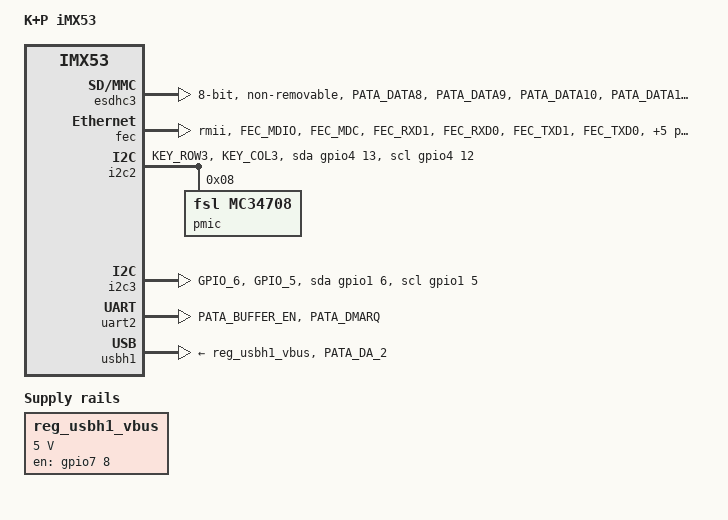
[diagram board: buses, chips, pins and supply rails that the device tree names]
/*
 * Copyright 2018
 * Lukasz Majewski, DENX Software Engineering, lukma@denx.de
 *
 * SPDX-License-Identifier:     GPL-2.0+ or X11
 */

/dts-v1/;
#include <dt-bindings/gpio/gpio.h>
#include "imx53.dtsi"
#include "imx53-pinfunc.h"

/ {
	model = "K+P iMX53";
	compatible = "kp,imx53-kp", "fsl,imx53";

	chosen {
		stdout-path = &uart2;
	};

	aliases {
		mmc0 = &esdhc3;
	};

	regulators {
		compatible = "simple-bus";
		#address-cells = <1>;
		#size-cells = <0>;

		reg_usbh1_vbus: regulator-usbh1-vbus {
			compatible = "regulator-fixed";
			regulator-name = "usbh1_vbus";
			regulator-min-microvolt = <5000000>;
			regulator-max-microvolt = <5000000>;
			gpio = <&gpio7 8 GPIO_ACTIVE_HIGH>;
			enable-active-high;
		};
	};

};

&esdhc3 {
	pinctrl-names = "default";
	pinctrl-0 = <&pinctrl_esdhc3>;
	bus-width = <8>;
	non-removable;
	status = "okay";
};

&fec {
	pinctrl-names = "default";
	pinctrl-0 = <&pinctrl_eth>;
	phy-mode = "rmii";
	phy-reset-gpios = <&gpio7 6 GPIO_ACTIVE_LOW>;
	status = "okay";
};

&i2c2 {
	pinctrl-names = "default", "gpio";
	pinctrl-0 = <&pinctrl_i2c2>;
	pinctrl-1 = <&pinctrl_i2c2_gpio>;
	clock_frequency = <100000>;

	scl-gpios = <&gpio4 12 GPIO_ACTIVE_HIGH>;
	sda-gpios = <&gpio4 13 GPIO_ACTIVE_HIGH>;

	status = "okay";

	pmic: mc34708@8 {
		compatible = "fsl,mc34708";
		reg = <0x8>;
	};
};

&i2c3 {
	pinctrl-names = "default", "gpio";
	pinctrl-0 = <&pinctrl_i2c3>;
	pinctrl-1 = <&pinctrl_i2c3_gpio>;
	clock_frequency = <100000>;

	scl-gpios = <&gpio1 5 GPIO_ACTIVE_HIGH>;
	sda-gpios = <&gpio1 6 GPIO_ACTIVE_HIGH>;

	status = "okay";
};

&iomuxc {
	pinctrl-names = "default";
	pinctrl-0 = <&pinctrl_hog>;

	imx53-kp {
		pinctrl_esdhc3: esdhc3grp {
			fsl,pins = <
				MX53_PAD_PATA_DATA8__ESDHC3_DAT0        0x1d4
				MX53_PAD_PATA_DATA9__ESDHC3_DAT1        0x1d4
				MX53_PAD_PATA_DATA10__ESDHC3_DAT2       0x1d4
				MX53_PAD_PATA_DATA11__ESDHC3_DAT3       0x1d4
				MX53_PAD_PATA_DATA0__ESDHC3_DAT4        0x1d4
				MX53_PAD_PATA_DATA1__ESDHC3_DAT5        0x1d4
				MX53_PAD_PATA_DATA2__ESDHC3_DAT6        0x1d4
				MX53_PAD_PATA_DATA3__ESDHC3_DAT7        0x1d4
				MX53_PAD_PATA_RESET_B__ESDHC3_CMD       0x1e4
				MX53_PAD_PATA_IORDY__ESDHC3_CLK         0x1d4
			>;
		};

		pinctrl_eth: ethgrp {
			fsl,pins = <
				MX53_PAD_FEC_MDIO__FEC_MDIO 0x1fc
				MX53_PAD_FEC_MDC__FEC_MDC 0x4
				MX53_PAD_FEC_RXD1__FEC_RDATA_1 0x180
				MX53_PAD_FEC_RXD0__FEC_RDATA_0 0x180
				MX53_PAD_FEC_TXD1__FEC_TDATA_1 0x4
				MX53_PAD_FEC_TXD0__FEC_TDATA_0 0x4
				MX53_PAD_FEC_TX_EN__FEC_TX_EN 0x4
				MX53_PAD_FEC_REF_CLK__FEC_TX_CLK 0x180
				/* The RX_ER pin needs to be pull down */
				/* for this device */
				MX53_PAD_FEC_RX_ER__FEC_RX_ER 0x1c0
				MX53_PAD_FEC_CRS_DV__FEC_RX_DV 0x180
				>;
		};

		pinctrl_hog: hoggrp {
			fsl,pins = <
				/* PHY RESET */
				MX53_PAD_PATA_DA_0__GPIO7_6 0x182
				/* BOOSTER_OFF */
				MX53_PAD_EIM_CS0__GPIO2_23 0x1e4
				/* LCD BACKLIGHT */
				MX53_PAD_GPIO_1__GPIO1_1 0x1e4
				/* KEY1 GPIO */
				MX53_PAD_EIM_RW__GPIO2_26 0x1e4
			>;
		};

		pinctrl_i2c2: i2c2grp {
			fsl,pins = <
				MX53_PAD_KEY_ROW3__I2C2_SDA
						 (0x1ee | IMX_PAD_SION)
				MX53_PAD_KEY_COL3__I2C2_SCL
						 (0x1ee | IMX_PAD_SION)
			>;
		};

		pinctrl_i2c2_gpio: i2c2grpgpio {
			fsl,pins = <
				MX53_PAD_KEY_ROW3__GPIO4_13 0x1e4
				MX53_PAD_KEY_COL3__GPIO4_12 0x1e4
			>;
		};

		pinctrl_i2c3: i2c3grp {
			fsl,pins = <
				MX53_PAD_GPIO_6__I2C3_SDA (0x1ee | IMX_PAD_SION)
				MX53_PAD_GPIO_5__I2C3_SCL (0x1ee | IMX_PAD_SION)
			>;
		};

		pinctrl_i2c3_gpio: i2c3grpgpio {
			fsl,pins = <
				MX53_PAD_GPIO_6__GPIO1_6 0x1e4
				MX53_PAD_GPIO_5__GPIO1_5 0x1e4
			>;
		};

		pinctrl_uart2: uart2grp {
			fsl,pins = <
				MX53_PAD_PATA_BUFFER_EN__UART2_RXD_MUX 0x1e4
				MX53_PAD_PATA_DMARQ__UART2_TXD_MUX 0x1e4
			>;
		};

		pinctrl_usbh1: usbh1grp {
			fsl,pins = <
				/* VBUS_PWR_EN */
				MX53_PAD_PATA_DA_2__GPIO7_8 0x1e4
			>;
		};
	};
};

&uart2 {
	pinctrl-names = "default";
	pinctrl-0 = <&pinctrl_uart2>;
	status = "okay";
};

&usbh1 {
	pinctrl-names = "default";
	pinctrl-0 = <&pinctrl_usbh1>;
	vbus-supply = <&reg_usbh1_vbus>;
	status = "okay";
};
